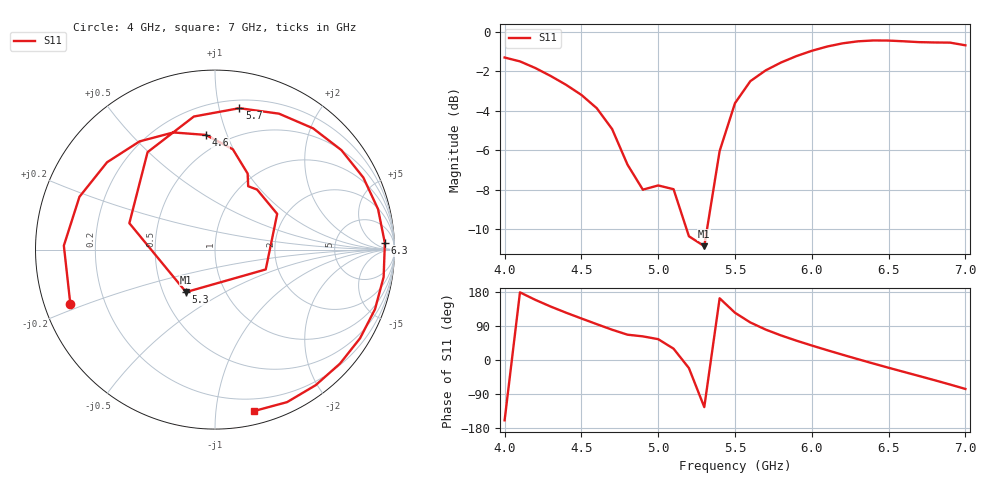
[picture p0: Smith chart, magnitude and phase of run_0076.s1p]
! Touchstone file exported from HFSS 2024.2.0
!  File:  C:/Users/wsak9/Desktop/Sim Fast/Widenad Patch/WP_AI_V1_sweep.aedt
!  Generated:  06:08:06 PM Oct 13, 2026
!  Design:  A1_model
!  Project:  WP_AI_V1_sweep
!  Setup:  Setup1
!  Solution:  Sweep
! Variables:
!  Air_gap = 4.73mm
!  Curve_Amp1 = 3.98
!  Curve_len1 = 1
!  Curve_pos = 12.215mm
!  Extra = 3.51mm
!  H_sub = 0.79mm
!  L_Patch = 20.43mm
!  L_Patch1 = 17.73mm
!  Sx = 3.53mm
!  Sy = 1.94mm
!  WS = 1.14mm
!  W_Patch = 22.86mm
!  W_Patch1 = 14.22mm
!Data is not renormalized
# GHz S MA
! Terminal data exported
! Port[1] = 1
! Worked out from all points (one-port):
!   31 points, 4 GHz to 7 GHz, reference per port
!   lowest |S11| = -10.9 dB at 5.3 GHz (marker M1), VSWR 1.80
!   |S11| at or under -10 dB: 5.185 GHz to 5.318 GHz (132.6 MHz wide, 2.52 % of centre)
!   S11 on the Smith chart (normalised r, x): 4 GHz: 0.08, -0.18; 4.6 GHz: 0.39, +0.84; 5.3 GHz: 0.65, -0.34; 5.7 GHz: 0.26, +1.15; 6.3 GHz: 24, +17; 7 GHz: 0.10, -1.27
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4  0.8617 -159.2
4.1  0.8424 178.5
4.2  0.8105 158.7
4.3  0.7736 141.0
4.4  0.7349 124.9
4.5  0.6927 109.6
4.6  0.6411 94.6
4.7  0.5676 79.9
4.8  0.4612 66.8
4.9  0.3985 62.4
5  0.4084 55.0
5.1  0.3995 29.9
5.2  0.3036 -21.3
5.3  0.2865 -124.3
5.4  0.4993 162.9
5.5  0.6603 124.7
5.6  0.7507 99.0
5.7  0.7996 80.2
5.8  0.8371 64.8
5.9  0.8689 51.0
6.1  0.9188 25.9
6.2  0.936 13.9
6.3  0.9471 2.2
6.4  0.9519 -9.2
6.5  0.9513 -20.5
6.7  0.9426 -42.4
6.9  0.9399 -64.7
7  0.9254 -76.4
